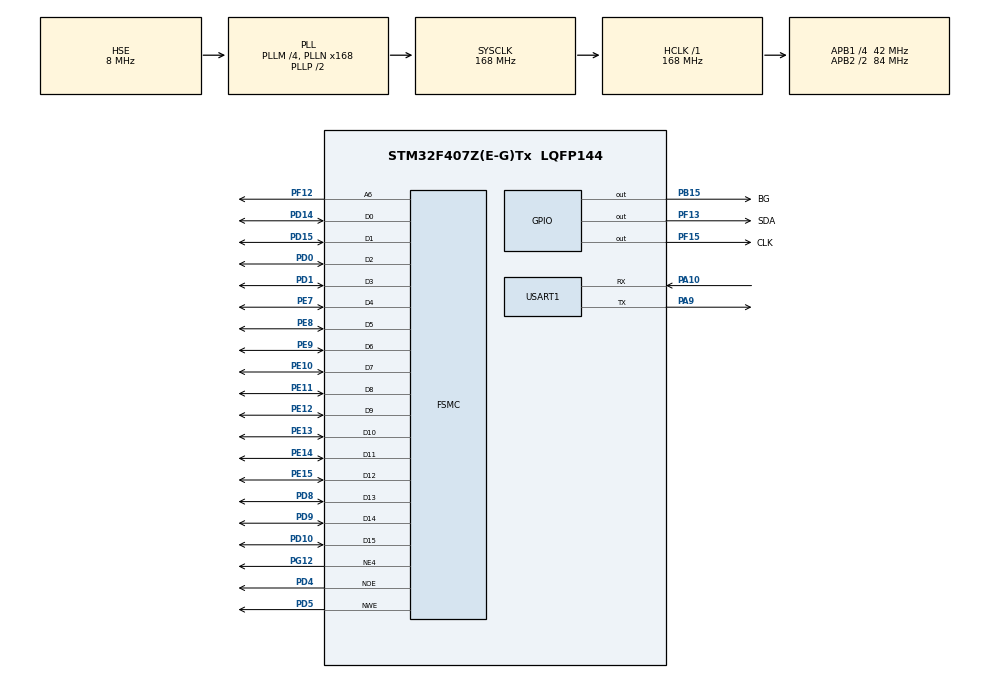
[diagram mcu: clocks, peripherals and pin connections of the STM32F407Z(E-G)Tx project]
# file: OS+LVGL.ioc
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FREERTOS.Tasks01=defaultTask,24,128,StartDefaultTask,Default,NULL,Dynamic,NULL,NULL;USARTTask,24,256,USARTStartTask,Default,NULL,Dynamic,NULL,NULL;LCDTask,24,256,LCDStartTask,Default,NULL,Dynamic,NULL,NULL;TOUCHTask,8,256,TOUCHStartTask,Default,NULL,Dynamic,NULL,NULL;LVGLTask,8,256,LVGLStartTask,Default,NULL,Dynamic,NULL,NULL;BMPTACK,40,256,BMPStartTask,Default,NULL,Dynamic,NULL,NULL
FSMC.AddressSetupTime4=2
FSMC.DataSetupTime4=4
FSMC.ExtendedAddressSetupTime4=0
FSMC.ExtendedDataSetupTime4=3
FSMC.ExtendedMode4=FSMC_EXTENDED_MODE_ENABLE
Mcu.Family=STM32F4
Mcu.Name=STM32F407Z(E-G)Tx
Mcu.Package=LQFP144
NVIC.PriorityGroup=NVIC_PRIORITYGROUP_4
NVIC.TIM6_DAC_IRQn=true\:0\:0\:false\:false\:true\:false\:false\:true
NVIC.TimeBase=TIM6_DAC_IRQn
NVIC.TimeBaseIP=TIM6
PA10.Mode=Asynchronous
PA10.Signal=USART1_RX
PA13.Mode=Serial_Wire
PA13.Signal=SYS_JTMS-SWDIO
PA14.Mode=Serial_Wire
PA14.Signal=SYS_JTCK-SWCLK
PA9.Mode=Asynchronous
PA9.Signal=USART1_TX
PB15.GPIO_Label=BG
PB15.Signal=GPIO_Output
PC14-OSC32_IN.Mode=LSE-External-Oscillator
PC14-OSC32_IN.Signal=RCC_OSC32_IN
PC15-OSC32_OUT.Mode=LSE-External-Oscillator
PC15-OSC32_OUT.Signal=RCC_OSC32_OUT
PD0.Signal=FSMC_D2_DA2
PD1.Signal=FSMC_D3_DA3
PD10.Signal=FSMC_D15_DA15
PD14.Signal=FSMC_D0_DA0
PD15.Signal=FSMC_D1_DA1
PD4.Signal=FSMC_NOE
PD5.Signal=FSMC_NWE
PD8.Signal=FSMC_D13_DA13
PD9.Signal=FSMC_D14_DA14
PE10.Signal=FSMC_D7_DA7
PE11.Signal=FSMC_D8_DA8
PE12.Signal=FSMC_D9_DA9
PE13.Signal=FSMC_D10_DA10
PE14.Signal=FSMC_D11_DA11
PE15.Signal=FSMC_D12_DA12
PE7.Signal=FSMC_D4_DA4
PE8.Signal=FSMC_D5_DA5
PE9.Signal=FSMC_D6_DA6
PF12.Signal=FSMC_A6
PF13.GPIO_Label=SDA
PF13.Signal=GPIO_Output
PF15.GPIO_Label=CLK
PF15.Signal=GPIO_Output
PG12.Mode=NorPsramChipSelect4_4
PG12.Signal=FSMC_NE4
PH0-OSC_IN.Mode=HSE-External-Oscillator
PH0-OSC_IN.Signal=RCC_OSC_IN
PH1-OSC_OUT.Mode=HSE-External-Oscillator
PH1-OSC_OUT.Signal=RCC_OSC_OUT
ProjectManager.HeapSize=0x200
ProjectManager.StackSize=0x400
ProjectManager.TargetToolchain=MDK-ARM V5.27
RCC.48MHZClocksFreq_Value=84000000
RCC.AHBFreq_Value=168000000
RCC.APB1CLKDivider=RCC_HCLK_DIV4
RCC.APB1Freq_Value=42000000
RCC.APB1TimFreq_Value=84000000
RCC.APB2CLKDivider=RCC_HCLK_DIV2
RCC.APB2Freq_Value=84000000
RCC.APB2TimFreq_Value=168000000
RCC.CortexFreq_Value=168000000
RCC.HCLKFreq_Value=168000000
RCC.HSE_VALUE=8000000
RCC.HSI_VALUE=16000000
RCC.PLLM=4
RCC.PLLN=168
RCC.PLLSourceVirtual=RCC_PLLSOURCE_HSE
RCC.SYSCLKFreq_VALUE=168000000
RCC.SYSCLKSource=RCC_SYSCLKSOURCE_PLLCLK
RCC.VCOOutputFreq_Value=336000000
SH.FSMC_A6.0=FSMC_A6,A6_4
SH.FSMC_D0_DA0.0=FSMC_D0,16b-d4
SH.FSMC_D10_DA10.0=FSMC_D10,16b-d4
SH.FSMC_D11_DA11.0=FSMC_D11,16b-d4
SH.FSMC_D12_DA12.0=FSMC_D12,16b-d4
SH.FSMC_D13_DA13.0=FSMC_D13,16b-d4
SH.FSMC_D14_DA14.0=FSMC_D14,16b-d4
SH.FSMC_D15_DA15.0=FSMC_D15,16b-d4
SH.FSMC_D1_DA1.0=FSMC_D1,16b-d4
SH.FSMC_D2_DA2.0=FSMC_D2,16b-d4
SH.FSMC_D3_DA3.0=FSMC_D3,16b-d4
SH.FSMC_D4_DA4.0=FSMC_D4,16b-d4
SH.FSMC_D5_DA5.0=FSMC_D5,16b-d4
SH.FSMC_D6_DA6.0=FSMC_D6,16b-d4
SH.FSMC_D7_DA7.0=FSMC_D7,16b-d4
SH.FSMC_D8_DA8.0=FSMC_D8,16b-d4
SH.FSMC_D9_DA9.0=FSMC_D9,16b-d4
SH.FSMC_NOE.0=FSMC_NOE,Lcd4
SH.FSMC_NWE.0=FSMC_NWE,Lcd4
USART1.VirtualMode=VM_ASYNC
VP_FREERTOS_VS_CMSIS_V2.Mode=CMSIS_V2
VP_SYS_VS_tim6.Mode=TIM6
board=custom

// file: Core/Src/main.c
/* USER CODE BEGIN Header */
/**
  ******************************************************************************
  * @file           : main.c
  * @brief          : Main program body
  ******************************************************************************
  * @attention
  *
  * <h2><center>&copy; Copyright (c) 2021 STMicroelectronics.
  * All rights reserved.</center></h2>
  *
  * This software component is licensed by ST under Ultimate Liberty license
  * SLA0044, the "License"; You may not use this file except in compliance with
  * the License. You may obtain a copy of the License at:
  *                             www.st.com/SLA0044
  *
  ******************************************************************************
  */
/* USER CODE END Header */
#include "main.h"
#include "cmsis_os.h"
#include "usart.h"
#include "gpio.h"
#include "fsmc.h"

/* USER CODE BEGIN Includes */

#include "stdio.h"
uint8_t ch;
int fputc(int c,FILE *F){
	ch=c;
	HAL_UART_Transmit(&huart1,&ch,1,1000);
	return c;
}

#include "lvgl.h"
#include "lv_port_disp.h"
#include "lv_port_indev.h"
#include "touch.h"

#include "BMP280.h"

static void slider_event_cb(lv_event_t * e);
static lv_obj_t * slider_label;

static void ta_event_cb(lv_event_t * e);
static lv_obj_t * kb;

static void event_handler(lv_event_t * e)
{
	lv_event_code_t code = lv_event_get_code(e);
	lv_obj_t * obj = lv_event_get_target(e);
	if(code == LV_EVENT_CLICKED){
		LV_LOG_USER("Clicked");
	}
	else if(code == LV_EVENT_VALUE_CHANGED){
		LV_LOG_USER("Toggled");
	}
	else if(code == LV_EVENT_VALUE_CHANGED){
		char buf[32];
		lv_roller_get_selected_str(obj,buf,sizeof(buf));
		LV_LOG_USER("Selected month: %s\n",buf);
	}
	else if(code == LV_EVENT_VALUE_CHANGED){
		char buf[32];
		lv_dropdown_get_selected_str(obj,buf,sizeof(buf));
		LV_LOG_USER("Option:%s",buf);
	}
	else if(code == LV_EVENT_VALUE_CHANGED){
		LV_LOG_USER("State: %s\n", lv_obj_has_state(obj, LV_STATE_CHECKED) ? "On" : "Off");
	}
}

static void my_event_cb(lv_event_t * e)
{
	lv_event_code_t code = lv_event_get_code(e);
	if(code == LV_EVENT_PRESSED){
		printf("Pressed\r\n");
	}
	else if(code == LV_EVENT_SHORT_CLICKED){
		printf("Short clicked\r\n");
	}
	else if(code == LV_EVENT_CLICKED){
		printf("Clicked\r\n");
	}
	else if(code == LV_EVENT_LONG_PRESSED){
		printf("Long press\r\n");
	}
	else if(code == LV_EVENT_LONG_PRESSED_REPEAT){
		printf("Long press repeat\r\n");
	}
	else if(code == LV_EVENT_RELEASED){
		printf("Relased\r\n");
	}
}

static void textarea_event_handler(lv_event_t * e)
{
    lv_obj_t * ta = lv_event_get_target(e);
    LV_LOG_USER("Enter was pressed. The current text is: %s", lv_textarea_get_text(ta));
}

static void btnm_event_handler(lv_event_t * e)
{
    lv_obj_t * obj = lv_event_get_target(e);
    lv_obj_t * ta = lv_event_get_user_data(e);
    const char * txt = lv_btnmatrix_get_btn_text(obj, lv_btnmatrix_get_selected_btn(obj));

    if(strcmp(txt, LV_SYMBOL_BACKSPACE) == 0) lv_textarea_del_char(ta);
    else if(strcmp(txt, LV_SYMBOL_NEW_LINE) == 0) lv_event_send(ta, LV_EVENT_READY, NULL);
    else lv_textarea_add_text(ta, txt);

}

void lv_example_textarea_1(void)
{
    lv_obj_t * ta = lv_textarea_create(lv_scr_act());
    lv_textarea_set_one_line(ta, true);
    lv_obj_align(ta, LV_ALIGN_TOP_MID, 0, 10);
    lv_obj_add_event_cb(ta, textarea_event_handler, LV_EVENT_READY, ta);
    lv_obj_add_state(ta, LV_STATE_FOCUSED); /*To be sure the cursor is visible*/

    static const char * btnm_map[] = {"1", "2", "3", "\n",
                               "4", "5", "6", "\n",
                               "7", "8", "9", "\n",
                               LV_SYMBOL_BACKSPACE, "0", LV_SYMBOL_NEW_LINE, ""};

    lv_obj_t * btnm = lv_btnmatrix_create(lv_scr_act());
    lv_obj_set_size(btnm, 200, 150);
    lv_obj_align(btnm, LV_ALIGN_BOTTOM_MID, 0, -10);
    lv_obj_add_event_cb(btnm, btnm_event_handler, LV_EVENT_VALUE_CHANGED, ta);
    lv_obj_clear_flag(btnm, LV_OBJ_FLAG_CLICK_FOCUSABLE); /*To keep the text area focused on button clicks*/
    lv_btnmatrix_set_map(btnm, btnm_map);
		lv_obj_set_pos(ta,-100,500);
}

void lv_example_btn_1(void)
{
	lv_obj_t * label;

	lv_obj_t * btn1 = lv_btn_create(lv_scr_act());
	lv_obj_add_event_cb(btn1,my_event_cb,LV_EVENT_ALL,NULL);
	lv_obj_align(btn1,LV_ALIGN_CENTER,0,-40);
	label = lv_label_create(btn1);
	lv_label_set_text(label,"button");
	lv_obj_center(label);

	lv_obj_t * btn2 = lv_btn_create(lv_scr_act());
	lv_obj_add_event_cb(btn2,event_handler,LV_EVENT_ALL,NULL);
	lv_obj_align(btn2,LV_ALIGN_CENTER,0,40);
	lv_obj_add_flag(btn2,LV_SIZE_CONTENT);
	lv_obj_set_height(btn2,LV_SIZE_CONTENT);

	label = lv_label_create(btn2);
	lv_label_set_text(label,"Toggle");
	lv_obj_center(label);
	lv_obj_set_pos(btn1,100,0);

}

void lv_example_arc_1(void)
{
  /*Create an Arc*/
  lv_obj_t * arc = lv_arc_create(lv_scr_act());
  lv_obj_set_size(arc, 150, 150);
  lv_arc_set_rotation(arc, 135);
  lv_arc_set_bg_angles(arc, 0, 270);
  lv_arc_set_value(arc, 40);
  lv_obj_center(arc);
	lv_obj_set_pos(arc,100,-300);
}

void lv_example_roller_1(void)
{
    lv_obj_t *roller1 = lv_roller_create(lv_scr_act());
    lv_roller_set_options(roller1,
                        "January\n"
                        "February\n"
                        "March\n"
                        "April\n"
                        "May\n"
                        "June\n"
                        "July\n"
                        "August\n"
                        "September\n"
                        "October\n"
                        "November\n"
                        "December",
                        LV_ROLLER_MODE_INFINITE);

    lv_roller_set_visible_row_count(roller1, 4);
    lv_obj_center(roller1);
    lv_obj_add_event_cb(roller1, event_handler, LV_EVENT_ALL, NULL);
		lv_obj_set_pos(roller1,-100,-300);
}

void lv_example_dropdown_1(void)
{

    /*Create a normal drop down list*/
    lv_obj_t * dd = lv_dropdown_create(lv_scr_act());
    lv_dropdown_set_options(dd, "Apple\n"
                                "Banana\n"
                                "Orange\n"
                                "Cherry\n"
                                "Grape\n"
                                "Raspberry\n"
                                "Melon\n"
                                "Orange\n"
                                "Lemon\n"
                                "Nuts");

    lv_obj_align(dd, LV_ALIGN_TOP_MID, 0, 20);
    lv_obj_add_event_cb(dd, event_handler, LV_EVENT_ALL, NULL);
		lv_obj_set_pos(dd,-100,300);
}

void lv_example_slider_1(void)
{
    /*Create a slider in the center of the display*/
    lv_obj_t * slider = lv_slider_create(lv_scr_act());
    lv_obj_center(slider);
    lv_obj_add_event_cb(slider, slider_event_cb, LV_EVENT_VALUE_CHANGED, NULL);

    /*Create a label below the slider*/
    slider_label = lv_label_create(lv_scr_act());
    lv_label_set_text(slider_label, "0%");
		//lv_slider_set_value(slider,50,LV_ANIM_ON);

    lv_obj_align_to(slider_label, slider, LV_ALIGN_OUT_BOTTOM_MID, 0, 10);
		lv_obj_set_pos(slider,-50,200);
		lv_obj_set_pos(slider_label,-50,220);
}
static void slider_event_cb(lv_event_t * e)
{
    lv_obj_t * slider = lv_event_get_target(e);
    char buf[8];
    lv_snprintf(buf, sizeof(buf), "%d%%", lv_slider_get_value(slider));
    lv_label_set_text(slider_label, buf);
    lv_obj_align_to(slider_label, slider, LV_ALIGN_OUT_BOTTOM_MID, 0, 10);
}

void lv_example_switch_1(void)
{
    //lv_obj_set_flex_flow(lv_scr_act(), LV_FLEX_FLOW_COLUMN);
    //lv_obj_set_flex_align(lv_scr_act(), LV_FLEX_ALIGN_CENTER, LV_FLEX_ALIGN_CENTER, LV_FLEX_ALIGN_CENTER);

    lv_obj_t * sw;

    sw = lv_switch_create(lv_scr_act());
    lv_obj_add_event_cb(sw, event_handler, LV_EVENT_ALL, NULL);

   // sw = lv_switch_create(lv_scr_act());
   // lv_obj_add_state(sw, LV_STATE_CHECKED);
   // lv_obj_add_event_cb(sw, event_handler, LV_EVENT_ALL, NULL);

   // sw = lv_switch_create(lv_scr_act());
   // lv_obj_add_state(sw, LV_STATE_DISABLED);
   // lv_obj_add_event_cb(sw, event_handler, LV_EVENT_ALL, NULL);

   // sw = lv_switch_create(lv_scr_act());
   // lv_obj_add_state(sw, LV_STATE_CHECKED | LV_STATE_DISABLED);
   // lv_obj_add_event_cb(sw, event_handler, LV_EVENT_ALL, NULL);
			lv_obj_center(sw);
			lv_obj_set_pos(sw,100,-200);
}

void lv_example_textarea_2(void)
{
    /*Create the password box*/
    lv_obj_t * pwd_ta = lv_textarea_create(lv_scr_act());
    lv_textarea_set_text(pwd_ta, "");
    lv_textarea_set_password_mode(pwd_ta, true);
    lv_textarea_set_one_line(pwd_ta, true);
    lv_obj_set_width(pwd_ta, lv_pct(40));
    lv_obj_set_pos(pwd_ta, 5, 20);
    lv_obj_add_event_cb(pwd_ta, ta_event_cb, LV_EVENT_ALL, NULL);

    /*Create a label and position it above the text box*/
    lv_obj_t * pwd_label = lv_label_create(lv_scr_act());
    lv_label_set_text(pwd_label, "Password:");
    lv_obj_align_to(pwd_label, pwd_ta, LV_ALIGN_OUT_TOP_LEFT, 0, 0);

    /*Create the one-line mode text area*/
    lv_obj_t * text_ta = lv_textarea_create(lv_scr_act());
    lv_textarea_set_one_line(text_ta, true);
    lv_textarea_set_password_mode(text_ta, false);
    lv_obj_set_width(text_ta, lv_pct(40));
    lv_obj_add_event_cb(text_ta, ta_event_cb, LV_EVENT_ALL, NULL);
    lv_obj_align(text_ta, LV_ALIGN_TOP_RIGHT, -5, 20);

    /*Create a label and position it above the text box*/
    lv_obj_t * oneline_label = lv_label_create(lv_scr_act());
    lv_label_set_text(oneline_label, "Text:");
    lv_obj_align_to(oneline_label, text_ta, LV_ALIGN_OUT_TOP_LEFT, 0, 0);

    /*Create a keyboard*/
    kb = lv_keyboard_create(lv_scr_act());
    lv_obj_set_size(kb,  LV_HOR_RES, LV_VER_RES / 2);

    lv_keyboard_set_textarea(kb, pwd_ta); /*Focus it on one of the text areas to start*/
}

static void ta_event_cb(lv_event_t * e)
{
    lv_event_code_t code = lv_event_get_code(e);
    lv_obj_t * ta = lv_event_get_target(e);
    if(code == LV_EVENT_CLICKED || code == LV_EVENT_FOCUSED) {
        /*Focus on the clicked text area*/
        if(kb != NULL) lv_keyboard_set_textarea(kb, ta);
    }

    else if(code == LV_EVENT_READY) {
        LV_LOG_USER("Ready, current text: %s", lv_textarea_get_text(ta));
    }
}
/* USER CODE END Includes */

void SystemClock_Config(void);
void MX_FREERTOS_Init(void);

int main(void)
{

  /* MCU Configuration--------------------------------------------------------*/

  /* Reset of all peripherals, Initializes the Flash interface and the Systick. */
  HAL_Init();

  /* Configure the system clock */
  SystemClock_Config();

  /* Initialize all configured peripherals */
  MX_GPIO_Init();
  MX_FSMC_Init();
  MX_USART1_UART_Init();
  /* USER CODE BEGIN 2 */
	lv_init();
	lv_port_disp_init();
	lv_port_indev_init();
	lv_example_btn_1();
	BMP280_Init();
	printf("%d",BMP280_Read_ID());
  /* USER CODE END 2 */

  /* Init scheduler */
  osKernelInitialize();  /* Call init function for freertos objects (in freertos.c) */
  MX_FREERTOS_Init();
  /* Start scheduler */
  osKernelStart();

  /* We should never get here as control is now taken by the scheduler */
  /* Infinite loop */
  while (1)
  {

  }
}

void SystemClock_Config(void)
{
  RCC_OscInitTypeDef RCC_OscInitStruct = {0};
  RCC_ClkInitTypeDef RCC_ClkInitStruct = {0};

  /** Configure the main internal regulator output voltage
  */
  __HAL_RCC_PWR_CLK_ENABLE();
  __HAL_PWR_VOLTAGESCALING_CONFIG(PWR_REGULATOR_VOLTAGE_SCALE1);
  /** Initializes the RCC Oscillators according to the specified parameters
  * in the RCC_OscInitTypeDef structure.
  */
  RCC_OscInitStruct.OscillatorType = RCC_OSCILLATORTYPE_HSE;
  RCC_OscInitStruct.HSEState = RCC_HSE_ON;
  RCC_OscInitStruct.PLL.PLLState = RCC_PLL_ON;
  RCC_OscInitStruct.PLL.PLLSource = RCC_PLLSOURCE_HSE;
  RCC_OscInitStruct.PLL.PLLM = 4;
  RCC_OscInitStruct.PLL.PLLN = 168;
  RCC_OscInitStruct.PLL.PLLP = RCC_PLLP_DIV2;
  RCC_OscInitStruct.PLL.PLLQ = 4;
  if (HAL_RCC_OscConfig(&RCC_OscInitStruct) != HAL_OK)
  {
    Error_Handler();
  }
  /** Initializes the CPU, AHB and APB buses clocks
  */
  RCC_ClkInitStruct.ClockType = RCC_CLOCKTYPE_HCLK|RCC_CLOCKTYPE_SYSCLK
                              |RCC_CLOCKTYPE_PCLK1|RCC_CLOCKTYPE_PCLK2;
  RCC_ClkInitStruct.SYSCLKSource = RCC_SYSCLKSOURCE_PLLCLK;
  RCC_ClkInitStruct.AHBCLKDivider = RCC_SYSCLK_DIV1;
  RCC_ClkInitStruct.APB1CLKDivider = RCC_HCLK_DIV4;
  RCC_ClkInitStruct.APB2CLKDivider = RCC_HCLK_DIV2;

  if (HAL_RCC_ClockConfig(&RCC_ClkInitStruct, FLASH_LATENCY_5) != HAL_OK)
  {
    Error_Handler();
  }
}

 /**
  * @brief  Period elapsed callback in non blocking mode
  * @note   This function is called  when TIM6 interrupt took place, inside
  * HAL_TIM_IRQHandler(). It makes a direct call to HAL_IncTick() to increment
  * a global variable "uwTick" used as application time base.
  * @param  htim : TIM handle
  * @retval None
  */
void HAL_TIM_PeriodElapsedCallback(TIM_HandleTypeDef *htim)
{
  if (htim->Instance == TIM6) {
    HAL_IncTick();
  }
}

void Error_Handler(void)
{
  __disable_irq();
  while (1)
  {
  }
}

/************************ (C) COPYRIGHT STMicroelectronics *****END OF FILE****/

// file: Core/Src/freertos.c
/* USER CODE BEGIN Header */
/**
  ******************************************************************************
  * File Name          : freertos.c
  * Description        : Code for freertos applications
  ******************************************************************************
  * @attention
  *
  * <h2><center>&copy; Copyright (c) 2021 STMicroelectronics.
  * All rights reserved.</center></h2>
  *
  * This software component is licensed by ST under Ultimate Liberty license
  * SLA0044, the "License"; You may not use this file except in compliance with
  * the License. You may obtain a copy of the License at:
  *                             www.st.com/SLA0044
  *
  ******************************************************************************
  */
/* USER CODE END Header */

#include "FreeRTOS.h"
#include "task.h"
#include "main.h"
#include "cmsis_os.h"

/* USER CODE BEGIN Includes */
#include "fsmc.h"

#include "stdio.h"

#include "lvgl.h"
#include "lv_port_disp.h"
#include "lv_port_indev.h"

#include "touch.h"
#include "BMP280.h"
/* USER CODE END Includes */

/* Definitions for defaultTask */
osThreadId_t defaultTaskHandle;
const osThreadAttr_t defaultTask_attributes = {
  .name = "defaultTask",
  .priority = (osPriority_t) osPriorityNormal,
  .stack_size = 128 * 4
};
/* Definitions for USARTTask */
osThreadId_t USARTTaskHandle;
const osThreadAttr_t USARTTask_attributes = {
  .name = "USARTTask",
  .priority = (osPriority_t) osPriorityNormal,
  .stack_size = 256 * 4
};
/* Definitions for LCDTask */
osThreadId_t LCDTaskHandle;
const osThreadAttr_t LCDTask_attributes = {
  .name = "LCDTask",
  .priority = (osPriority_t) osPriorityNormal,
  .stack_size = 256 * 4
};
/* Definitions for TOUCHTask */
osThreadId_t TOUCHTaskHandle;
const osThreadAttr_t TOUCHTask_attributes = {
  .name = "TOUCHTask",
  .priority = (osPriority_t) osPriorityLow,
  .stack_size = 256 * 4
};
/* Definitions for LVGLTask */
osThreadId_t LVGLTaskHandle;
const osThreadAttr_t LVGLTask_attributes = {
  .name = "LVGLTask",
  .priority = (osPriority_t) osPriorityLow,
  .stack_size = 256 * 4
};
/* Definitions for BMPTACK */
osThreadId_t BMPTACKHandle;
const osThreadAttr_t BMPTACK_attributes = {
  .name = "BMPTACK",
  .priority = (osPriority_t) osPriorityHigh,
  .stack_size = 256 * 4
};

void StartDefaultTask(void *argument);
void USARTStartTask(void *argument);
void LCDStartTask(void *argument);
void TOUCHStartTask(void *argument);
void LVGLStartTask(void *argument);
void BMPStartTask(void *argument);

void MX_FREERTOS_Init(void); /* (MISRA C 2004 rule 8.1) */

void MX_FREERTOS_Init(void) {

  /* Create the thread(s) */
  /* creation of defaultTask */
  defaultTaskHandle = osThreadNew(StartDefaultTask, NULL, &defaultTask_attributes);

  /* creation of USARTTask */
  USARTTaskHandle = osThreadNew(USARTStartTask, NULL, &USARTTask_attributes);

  /* creation of LCDTask */
  LCDTaskHandle = osThreadNew(LCDStartTask, NULL, &LCDTask_attributes);

  /* creation of TOUCHTask */
  TOUCHTaskHandle = osThreadNew(TOUCHStartTask, NULL, &TOUCHTask_attributes);

  /* creation of LVGLTask */
  LVGLTaskHandle = osThreadNew(LVGLStartTask, NULL, &LVGLTask_attributes);

  /* creation of BMPTACK */
  BMPTACKHandle = osThreadNew(BMPStartTask, NULL, &BMPTACK_attributes);

}

void StartDefaultTask(void *argument)
{
  for(;;)
  {
    osDelay(1);
  }
}

void USARTStartTask(void *argument)
{
  /* USER CODE BEGIN USARTStartTask */
  /* Infinite loop */
  for(;;)
  {
		lv_task_handler();
    osDelay(5);
  }
  /* USER CODE END USARTStartTask */
}

void LCDStartTask(void *argument)
{
  /* USER CODE BEGIN LCDStartTask */
  /* Infinite loop */
  for(;;)
  {
		osDelay(20);
  }
  /* USER CODE END LCDStartTask */
}

void TOUCHStartTask(void *argument)
{
  for(;;)
  {
		osDelay(1);
  }
}

void LVGLStartTask(void *argument)
{
  /* USER CODE BEGIN LVGLStartTask */
  /* Infinite loop */
  for(;;)
  {
		lv_tick_inc(5);//LVGL_TICK = 5
    osDelay(5);
  }
  /* USER CODE END LVGLStartTask */
}

void BMPStartTask(void *argument)
{
  /* USER CODE BEGIN BMPStartTask */
	double BMP_Pressurre;
	double BMP_Temperature;
  /* Infinite loop */
  for(;;)
  {
		while(BMP280_GetStatus(BMP280_MEASURING) != RESET);
		while(BMP280_GetStatus(BMP280_IM_UPDATE) != RESET);
    BMP_Pressurre = BMP280_Get_Pressure();
		BMP_Temperature = BMP280_Get_Temperature();
		printf("\r\nTemperature %lf C Pressure %lf",BMP_Temperature,BMP_Pressurre);
		osDelay(5);
  }
  /* USER CODE END BMPStartTask */
}

/************************ (C) COPYRIGHT STMicroelectronics *****END OF FILE****/
